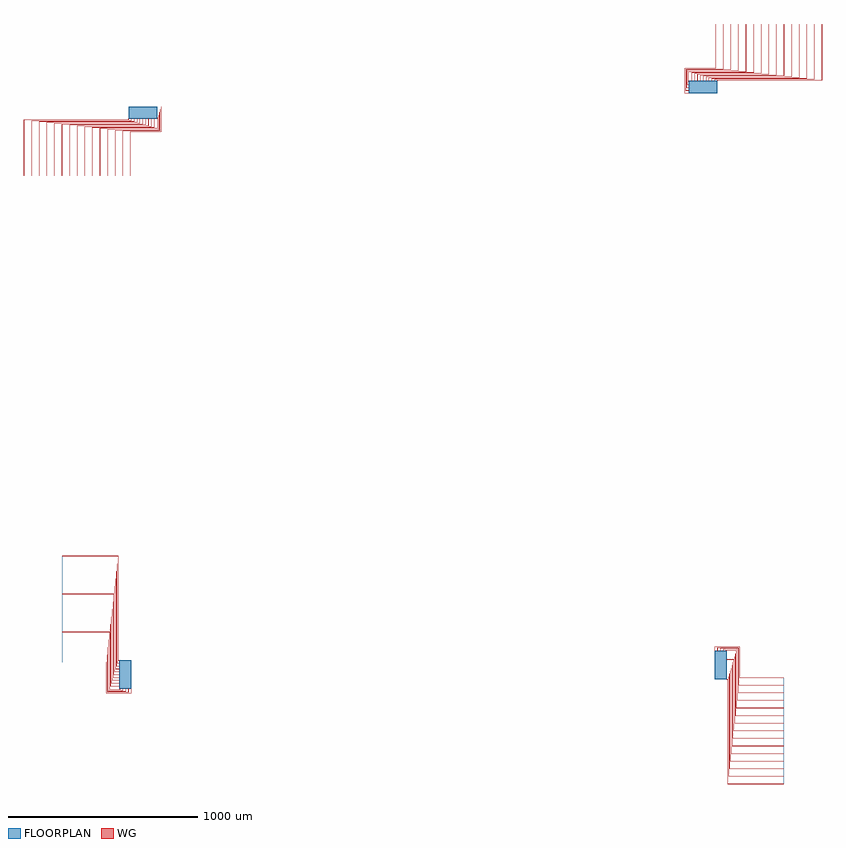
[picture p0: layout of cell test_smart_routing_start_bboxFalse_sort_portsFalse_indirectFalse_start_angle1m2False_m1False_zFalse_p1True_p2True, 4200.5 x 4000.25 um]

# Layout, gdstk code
import gdstk
lib = gdstk.Library(unit=1e-6, precision=1e-09)
def R(c, l, rs):  # rectangles x0, y0, x1, y1
    for r in rs: c.add(gdstk.rectangle(r[:2], r[2:], *l))
def P(c, l, *ps):  # polygons
    for p in ps: c.add(gdstk.Polygon(p, *l))
WG = (1, 0)
FLOORPLAN = (10, 0)

test_smart_routing_start = lib.new_cell('test_smart_routing_start_bboxFalse_sort_portsFalse_indirectFalse_start_angle1m2False_m1False_zFalse_p1True_p2True')
P(test_smart_routing_start, WG, [(3049.75,3100),(3049.75,3104.5),(3599.75,3104.5),(3599.75,3400),(3599.95,3400),(3599.95,3104.3),(3049.95,3104.3),(3049.95,3100)],
  [(3050.05,3100),(3050.05,3104.2),(3600.05,3104.2),(3600.05,3400),(3600.25,3400),(3600.25,3104),(3050.25,3104),(3050.25,3100)],
  [(3034.75,3100),(3034.75,3109),(3559.75,3109),(3559.75,3400),(3559.95,3400),(3559.95,3108.8),(3034.95,3108.8),(3034.95,3100)],
  [(3035.05,3100),(3035.05,3108.7),(3560.05,3108.7),(3560.05,3400),(3560.25,3400),(3560.25,3108.5),(3035.25,3108.5),(3035.25,3100)],
  [(3019.75,3100),(3019.75,3113.5),(3519.75,3113.5),(3519.75,3400),(3519.95,3400),(3519.95,3113.3),(3019.95,3113.3),(3019.95,3100)],
  [(3020.05,3100),(3020.05,3113.2),(3520.05,3113.2),(3520.05,3400),(3520.25,3400),(3520.25,3113),(3020.25,3113),(3020.25,3100)],
  [(3004.75,3100),(3004.75,3118),(3479.75,3118),(3479.75,3400),(3479.95,3400),(3479.95,3117.8),(3004.95,3117.8),(3004.95,3100)],
  [(3005.05,3100),(3005.05,3117.7),(3480.05,3117.7),(3480.05,3400),(3480.25,3400),(3480.25,3117.5),(3005.25,3117.5),(3005.25,3100)],
  [(2989.75,3100),(2989.75,3122.5),(3439.75,3122.5),(3439.75,3400),(3439.95,3400),(3439.95,3122.3),(2989.95,3122.3),(2989.95,3100)],
  [(2990.05,3100),(2990.05,3122.2),(3440.05,3122.2),(3440.05,3400),(3440.25,3400),(3440.25,3122),(2990.25,3122),(2990.25,3100)],
  [(2974.75,3100),(2974.75,3127),(3399.75,3127),(3399.75,3400),(3399.95,3400),(3399.95,3126.8),(2974.95,3126.8),(2974.95,3100)],
  [(2975.05,3100),(2975.05,3126.7),(3400.05,3126.7),(3400.05,3400),(3400.25,3400),(3400.25,3126.5),(2975.25,3126.5),(2975.25,3100)],
  [(2959.75,3100),(2959.75,3131.5),(3359.75,3131.5),(3359.75,3400),(3359.95,3400),(3359.95,3131.3),(2959.95,3131.3),(2959.95,3100)],
  [(2960.05,3100),(2960.05,3131.2),(3360.05,3131.2),(3360.05,3400),(3360.25,3400),(3360.25,3131),(2960.25,3131),(2960.25,3100)],
  [(2944.75,3100),(2944.75,3136),(3319.75,3136),(3319.75,3400),(3319.95,3400),(3319.95,3135.8),(2944.95,3135.8),(2944.95,3100)],
  [(2945.05,3100),(2945.05,3135.7),(3320.05,3135.7),(3320.05,3400),(3320.25,3400),(3320.25,3135.5),(2945.25,3135.5),(2945.25,3100)],
  [(2929.75,3100),(2929.75,3140.5),(3279.75,3140.5),(3279.75,3400),(3279.95,3400),(3279.95,3140.3),(2929.95,3140.3),(2929.95,3100)],
  [(2930.05,3100),(2930.05,3140.2),(3280.05,3140.2),(3280.05,3400),(3280.25,3400),(3280.25,3140),(2930.25,3140),(2930.25,3100)],
  [(2914.75,3100),(2914.75,3145),(3239.75,3145),(3239.75,3400),(3239.95,3400),(3239.95,3144.8),(2914.95,3144.8),(2914.95,3100)],
  [(2915.05,3100),(2915.05,3144.7),(3240.05,3144.7),(3240.05,3400),(3240.25,3400),(3240.25,3144.5),(2915.25,3144.5),(2915.25,3100)],
  [(2877.5,3034.75),(2877.5,3167.5),(3039.75,3167.5),(3039.75,3400),(3039.95,3400),(3039.95,3167.3),(2877.7,3167.3),(2877.7,3034.95),(2900,3034.95),(2900,3034.75)],
  [(2877.8,3035.05),(2877.8,3167.2),(3040.05,3167.2),(3040.05,3400),(3040.25,3400),(3040.25,3167),(2878,3167),(2878,3035.25),(2900,3035.25),(2900,3035.05)],
  [(2882,3049.75),(2882,3163),(3079.75,3163),(3079.75,3400),(3079.95,3400),(3079.95,3162.8),(2882.2,3162.8),(2882.2,3049.95),(2900,3049.95),(2900,3049.75)],
  [(2882.3,3050.05),(2882.3,3162.7),(3080.05,3162.7),(3080.05,3400),(3080.25,3400),(3080.25,3162.5),(2882.5,3162.5),(2882.5,3050.25),(2900,3050.25),(2900,3050.05)],
  [(2886.5,3064.75),(2886.5,3158.5),(3119.75,3158.5),(3119.75,3400),(3119.95,3400),(3119.95,3158.3),(2886.7,3158.3),(2886.7,3064.95),(2900,3064.95),(2900,3064.75)],
  [(2886.8,3065.05),(2886.8,3158.2),(3120.05,3158.2),(3120.05,3400),(3120.25,3400),(3120.25,3158),(2887,3158),(2887,3065.25),(2900,3065.25),(2900,3065.05)],
  [(2891,3079.75),(2891,3154),(3159.75,3154),(3159.75,3400),(3159.95,3400),(3159.95,3153.8),(2891.2,3153.8),(2891.2,3079.95),(2900,3079.95),(2900,3079.75)],
  [(2891.3,3080.05),(2891.3,3153.7),(3160.05,3153.7),(3160.05,3400),(3160.25,3400),(3160.25,3153.5),(2891.5,3153.5),(2891.5,3080.25),(2900,3080.25),(2900,3080.05)],
  [(2895.5,3094.75),(2895.5,3149.5),(3199.75,3149.5),(3199.75,3400),(3199.95,3400),(3199.95,3149.3),(2895.7,3149.3),(2895.7,3094.95),(2900,3094.95),(2900,3094.75)],
  [(2895.8,3095.05),(2895.8,3149.2),(3200.05,3149.2),(3200.05,3400),(3200.25,3400),(3200.25,3149),(2896,3149),(2896,3095.25),(2900,3095.25),(2900,3095.05)],
  [(-600.25,2600),(-600.25,2896),(-50.25,2896),(-50.25,2900),(-50.05,2900),(-50.05,2895.8),(-600.05,2895.8),(-600.05,2600)],
  [(-599.95,2600),(-599.95,2895.7),(-49.95,2895.7),(-49.95,2900),(-49.75,2900),(-49.75,2895.5),(-599.75,2895.5),(-599.75,2600)],
  [(-560.25,2600),(-560.25,2891.5),(-35.25,2891.5),(-35.25,2900),(-35.05,2900),(-35.05,2891.3),(-560.05,2891.3),(-560.05,2600)],
  [(-559.95,2600),(-559.95,2891.2),(-34.95,2891.2),(-34.95,2900),(-34.75,2900),(-34.75,2891),(-559.75,2891),(-559.75,2600)],
  [(-520.25,2600),(-520.25,2887),(-20.25,2887),(-20.25,2900),(-20.05,2900),(-20.05,2886.8),(-520.05,2886.8),(-520.05,2600)],
  [(-519.95,2600),(-519.95,2886.7),(-19.95,2886.7),(-19.95,2900),(-19.75,2900),(-19.75,2886.5),(-519.75,2886.5),(-519.75,2600)],
  [(-480.25,2600),(-480.25,2882.5),(-5.25,2882.5),(-5.25,2900),(-5.05,2900),(-5.05,2882.3),(-480.05,2882.3),(-480.05,2600)],
  [(-479.95,2600),(-479.95,2882.2),(-4.95,2882.2),(-4.95,2900),(-4.75,2900),(-4.75,2882),(-479.75,2882),(-479.75,2600)],
  [(-440.25,2600),(-440.25,2878),(9.75,2878),(9.75,2900),(9.95,2900),(9.95,2877.8),(-440.05,2877.8),(-440.05,2600)],
  [(-439.95,2600),(-439.95,2877.7),(10.05,2877.7),(10.05,2900),(10.25,2900),(10.25,2877.5),(-439.75,2877.5),(-439.75,2600)],
  [(-400.25,2600),(-400.25,2873.5),(24.75,2873.5),(24.75,2900),(24.95,2900),(24.95,2873.3),(-400.05,2873.3),(-400.05,2600)],
  [(-399.95,2600),(-399.95,2873.2),(25.05,2873.2),(25.05,2900),(25.25,2900),(25.25,2873),(-399.75,2873),(-399.75,2600)],
  [(-360.25,2600),(-360.25,2869),(39.75,2869),(39.75,2900),(39.95,2900),(39.95,2868.8),(-360.05,2868.8),(-360.05,2600)],
  [(-359.95,2600),(-359.95,2868.7),(40.05,2868.7),(40.05,2900),(40.25,2900),(40.25,2868.5),(-359.75,2868.5),(-359.75,2600)],
  [(-320.25,2600),(-320.25,2864.5),(54.75,2864.5),(54.75,2900),(54.95,2900),(54.95,2864.3),(-320.05,2864.3),(-320.05,2600)],
  [(-319.95,2600),(-319.95,2864.2),(55.05,2864.2),(55.05,2900),(55.25,2900),(55.25,2864),(-319.75,2864),(-319.75,2600)],
  [(-280.25,2600),(-280.25,2860),(69.75,2860),(69.75,2900),(69.95,2900),(69.95,2859.8),(-280.05,2859.8),(-280.05,2600)],
  [(-279.95,2600),(-279.95,2859.7),(70.05,2859.7),(70.05,2900),(70.25,2900),(70.25,2859.5),(-279.75,2859.5),(-279.75,2600)],
  [(-240.25,2600),(-240.25,2855.5),(84.75,2855.5),(84.75,2900),(84.95,2900),(84.95,2855.3),(-240.05,2855.3),(-240.05,2600)],
  [(-239.95,2600),(-239.95,2855.2),(85.05,2855.2),(85.05,2900),(85.25,2900),(85.25,2855),(-239.75,2855),(-239.75,2600)],
  [(-40.25,2600),(-40.25,2833),(122,2833),(122,2964.75),(100,2964.75),(100,2964.95),(122.2,2964.95),(122.2,2832.8),(-40.05,2832.8),(-40.05,2600)],
  [(-39.95,2600),(-39.95,2832.7),(122.3,2832.7),(122.3,2965.05),(100,2965.05),(100,2965.25),(122.5,2965.25),(122.5,2832.5),(-39.75,2832.5),(-39.75,2600)],
  [(-80.25,2600),(-80.25,2837.5),(117.5,2837.5),(117.5,2949.75),(100,2949.75),(100,2949.95),(117.7,2949.95),(117.7,2837.3),(-80.05,2837.3),(-80.05,2600)],
  [(-79.95,2600),(-79.95,2837.2),(117.8,2837.2),(117.8,2950.05),(100,2950.05),(100,2950.25),(118,2950.25),(118,2837),(-79.75,2837),(-79.75,2600)],
  [(-120.25,2600),(-120.25,2842),(113,2842),(113,2934.75),(100,2934.75),(100,2934.95),(113.2,2934.95),(113.2,2841.8),(-120.05,2841.8),(-120.05,2600)],
  [(-119.95,2600),(-119.95,2841.7),(113.3,2841.7),(113.3,2935.05),(100,2935.05),(100,2935.25),(113.5,2935.25),(113.5,2841.5),(-119.75,2841.5),(-119.75,2600)],
  [(-160.25,2600),(-160.25,2846.5),(108.5,2846.5),(108.5,2919.75),(100,2919.75),(100,2919.95),(108.7,2919.95),(108.7,2846.3),(-160.05,2846.3),(-160.05,2600)],
  [(-159.95,2600),(-159.95,2846.2),(108.8,2846.2),(108.8,2920.05),(100,2920.05),(100,2920.25),(109,2920.25),(109,2846),(-159.75,2846),(-159.75,2600)],
  [(-200.25,2600),(-200.25,2851),(104,2851),(104,2904.75),(100,2904.75),(100,2904.95),(104.2,2904.95),(104.2,2850.8),(-200.05,2850.8),(-200.05,2600)],
  [(-199.95,2600),(-199.95,2850.7),(104.3,2850.7),(104.3,2905.05),(100,2905.05),(100,2905.25),(104.5,2905.25),(104.5,2850.5),(-199.75,2850.5),(-199.75,2600)],
  [(-104.5,49.75),(-104.5,599.75),(-400,599.75),(-400,599.95),(-104.3,599.95),(-104.3,49.95),(-100,49.95),(-100,49.75)],
  [(-104.2,50.05),(-104.2,600.05),(-400,600.05),(-400,600.25),(-104,600.25),(-104,50.25),(-100,50.25),(-100,50.05)],
  [(-109,34.75),(-109,559.75),(-400,559.75),(-400,559.95),(-108.8,559.95),(-108.8,34.95),(-100,34.95),(-100,34.75)],
  [(-108.7,35.05),(-108.7,560.05),(-400,560.05),(-400,560.25),(-108.5,560.25),(-108.5,35.25),(-100,35.25),(-100,35.05)],
  [(-113.5,19.75),(-113.5,519.75),(-400,519.75),(-400,519.95),(-113.3,519.95),(-113.3,19.95),(-100,19.95),(-100,19.75)],
  [(-113.2,20.05),(-113.2,520.05),(-400,520.05),(-400,520.25),(-113,520.25),(-113,20.25),(-100,20.25),(-100,20.05)],
  [(-118,4.75),(-118,479.75),(-400,479.75),(-400,479.95),(-117.8,479.95),(-117.8,4.95),(-100,4.95),(-100,4.75)],
  [(-117.7,5.05),(-117.7,480.05),(-400,480.05),(-400,480.25),(-117.5,480.25),(-117.5,5.25),(-100,5.25),(-100,5.05)],
  [(-122.5,-10.25),(-122.5,439.75),(-400,439.75),(-400,439.95),(-122.3,439.95),(-122.3,-10.05),(-100,-10.05),(-100,-10.25)],
  [(-122.2,-9.95),(-122.2,440.05),(-400,440.05),(-400,440.25),(-122,440.25),(-122,-9.75),(-100,-9.75),(-100,-9.95)],
  [(-127,-25.25),(-127,399.75),(-400,399.75),(-400,399.95),(-126.8,399.95),(-126.8,-25.05),(-100,-25.05),(-100,-25.25)],
  [(-126.7,-24.95),(-126.7,400.05),(-400,400.05),(-400,400.25),(-126.5,400.25),(-126.5,-24.75),(-100,-24.75),(-100,-24.95)],
  [(-131.5,-40.25),(-131.5,359.75),(-400,359.75),(-400,359.95),(-131.3,359.95),(-131.3,-40.05),(-100,-40.05),(-100,-40.25)],
  [(-131.2,-39.95),(-131.2,360.05),(-400,360.05),(-400,360.25),(-131,360.25),(-131,-39.75),(-100,-39.75),(-100,-39.95)],
  [(-136,-55.25),(-136,319.75),(-400,319.75),(-400,319.95),(-135.8,319.95),(-135.8,-55.05),(-100,-55.05),(-100,-55.25)],
  [(-135.7,-54.95),(-135.7,320.05),(-400,320.05),(-400,320.25),(-135.5,320.25),(-135.5,-54.75),(-100,-54.75),(-100,-54.95)],
  [(-140.5,-70.25),(-140.5,279.75),(-400,279.75),(-400,279.95),(-140.3,279.95),(-140.3,-70.05),(-100,-70.05),(-100,-70.25)],
  [(-140.2,-69.95),(-140.2,280.05),(-400,280.05),(-400,280.25),(-140,280.25),(-140,-69.75),(-100,-69.75),(-100,-69.95)],
  [(-145,-85.25),(-145,239.75),(-400,239.75),(-400,239.95),(-144.8,239.95),(-144.8,-85.05),(-100,-85.05),(-100,-85.25)],
  [(-144.7,-84.95),(-144.7,240.05),(-400,240.05),(-400,240.25),(-144.5,240.25),(-144.5,-84.75),(-100,-84.75),(-100,-84.95)],
  [(-167.5,-122.5),(-167.5,39.75),(-400,39.75),(-400,39.95),(-167.3,39.95),(-167.3,-122.3),(-34.95,-122.3),(-34.95,-100),(-34.75,-100),(-34.75,-122.5)],
  [(-167.2,-122.2),(-167.2,40.05),(-400,40.05),(-400,40.25),(-167,40.25),(-167,-122),(-35.25,-122),(-35.25,-100),(-35.05,-100),(-35.05,-122.2)],
  [(-163,-118),(-163,79.75),(-400,79.75),(-400,79.95),(-162.8,79.95),(-162.8,-117.8),(-49.95,-117.8),(-49.95,-100),(-49.75,-100),(-49.75,-118)],
  [(-162.7,-117.7),(-162.7,80.05),(-400,80.05),(-400,80.25),(-162.5,80.25),(-162.5,-117.5),(-50.25,-117.5),(-50.25,-100),(-50.05,-100),(-50.05,-117.7)],
  [(-158.5,-113.5),(-158.5,119.75),(-400,119.75),(-400,119.95),(-158.3,119.95),(-158.3,-113.3),(-64.95,-113.3),(-64.95,-100),(-64.75,-100),(-64.75,-113.5)],
  [(-158.2,-113.2),(-158.2,120.05),(-400,120.05),(-400,120.25),(-158,120.25),(-158,-113),(-65.25,-113),(-65.25,-100),(-65.05,-100),(-65.05,-113.2)],
  [(-154,-109),(-154,159.75),(-400,159.75),(-400,159.95),(-153.8,159.95),(-153.8,-108.8),(-79.95,-108.8),(-79.95,-100),(-79.75,-100),(-79.75,-109)],
  [(-153.7,-108.7),(-153.7,160.05),(-400,160.05),(-400,160.25),(-153.5,160.25),(-153.5,-108.5),(-80.25,-108.5),(-80.25,-100),(-80.05,-100),(-80.05,-108.7)],
  [(-149.5,-104.5),(-149.5,199.75),(-400,199.75),(-400,199.95),(-149.3,199.95),(-149.3,-104.3),(-94.95,-104.3),(-94.95,-100),(-94.75,-100),(-94.75,-104.5)],
  [(-149.2,-104.2),(-149.2,200.05),(-400,200.05),(-400,200.25),(-149,200.25),(-149,-104),(-95.25,-104),(-95.25,-100),(-95.05,-100),(-95.05,-104.2)],
  [(3104,-600.25),(3104,-50.25),(3100,-50.25),(3100,-50.05),(3104.2,-50.05),(3104.2,-600.05),(3400,-600.05),(3400,-600.25)],
  [(3104.3,-599.95),(3104.3,-49.95),(3100,-49.95),(3100,-49.75),(3104.5,-49.75),(3104.5,-599.75),(3400,-599.75),(3400,-599.95)],
  [(3108.5,-560.25),(3108.5,-35.25),(3100,-35.25),(3100,-35.05),(3108.7,-35.05),(3108.7,-560.05),(3400,-560.05),(3400,-560.25)],
  [(3108.8,-559.95),(3108.8,-34.95),(3100,-34.95),(3100,-34.75),(3109,-34.75),(3109,-559.75),(3400,-559.75),(3400,-559.95)],
  [(3113,-520.25),(3113,-20.25),(3100,-20.25),(3100,-20.05),(3113.2,-20.05),(3113.2,-520.05),(3400,-520.05),(3400,-520.25)],
  [(3113.3,-519.95),(3113.3,-19.95),(3100,-19.95),(3100,-19.75),(3113.5,-19.75),(3113.5,-519.75),(3400,-519.75),(3400,-519.95)],
  [(3117.5,-480.25),(3117.5,-5.25),(3100,-5.25),(3100,-5.05),(3117.7,-5.05),(3117.7,-480.05),(3400,-480.05),(3400,-480.25)],
  [(3117.8,-479.95),(3117.8,-4.95),(3100,-4.95),(3100,-4.75),(3118,-4.75),(3118,-479.75),(3400,-479.75),(3400,-479.95)],
  [(3122,-440.25),(3122,9.75),(3100,9.75),(3100,9.95),(3122.2,9.95),(3122.2,-440.05),(3400,-440.05),(3400,-440.25)],
  [(3122.3,-439.95),(3122.3,10.05),(3100,10.05),(3100,10.25),(3122.5,10.25),(3122.5,-439.75),(3400,-439.75),(3400,-439.95)],
  [(3126.5,-400.25),(3126.5,24.75),(3100,24.75),(3100,24.95),(3126.7,24.95),(3126.7,-400.05),(3400,-400.05),(3400,-400.25)],
  [(3126.8,-399.95),(3126.8,25.05),(3100,25.05),(3100,25.25),(3127,25.25),(3127,-399.75),(3400,-399.75),(3400,-399.95)],
  [(3131,-360.25),(3131,39.75),(3100,39.75),(3100,39.95),(3131.2,39.95),(3131.2,-360.05),(3400,-360.05),(3400,-360.25)],
  [(3131.3,-359.95),(3131.3,40.05),(3100,40.05),(3100,40.25),(3131.5,40.25),(3131.5,-359.75),(3400,-359.75),(3400,-359.95)],
  [(3135.5,-320.25),(3135.5,54.75),(3100,54.75),(3100,54.95),(3135.7,54.95),(3135.7,-320.05),(3400,-320.05),(3400,-320.25)],
  [(3135.8,-319.95),(3135.8,55.05),(3100,55.05),(3100,55.25),(3136,55.25),(3136,-319.75),(3400,-319.75),(3400,-319.95)],
  [(3140,-280.25),(3140,69.75),(3100,69.75),(3100,69.95),(3140.2,69.95),(3140.2,-280.05),(3400,-280.05),(3400,-280.25)],
  [(3140.3,-279.95),(3140.3,70.05),(3100,70.05),(3100,70.25),(3140.5,70.25),(3140.5,-279.75),(3400,-279.75),(3400,-279.95)],
  [(3144.5,-240.25),(3144.5,84.75),(3100,84.75),(3100,84.95),(3144.7,84.95),(3144.7,-240.05),(3400,-240.05),(3400,-240.25)],
  [(3144.8,-239.95),(3144.8,85.05),(3100,85.05),(3100,85.25),(3145,85.25),(3145,-239.75),(3400,-239.75),(3400,-239.95)],
  [(3167,-40.25),(3167,122),(3035.25,122),(3035.25,100),(3035.05,100),(3035.05,122.2),(3167.2,122.2),(3167.2,-40.05),(3400,-40.05),(3400,-40.25)],
  [(3167.3,-39.95),(3167.3,122.3),(3034.95,122.3),(3034.95,100),(3034.75,100),(3034.75,122.5),(3167.5,122.5),(3167.5,-39.75),(3400,-39.75),(3400,-39.95)],
  [(3162.5,-80.25),(3162.5,117.5),(3050.25,117.5),(3050.25,100),(3050.05,100),(3050.05,117.7),(3162.7,117.7),(3162.7,-80.05),(3400,-80.05),(3400,-80.25)],
  [(3162.8,-79.95),(3162.8,117.8),(3049.95,117.8),(3049.95,100),(3049.75,100),(3049.75,118),(3163,118),(3163,-79.75),(3400,-79.75),(3400,-79.95)],
  [(3158,-120.25),(3158,113),(3065.25,113),(3065.25,100),(3065.05,100),(3065.05,113.2),(3158.2,113.2),(3158.2,-120.05),(3400,-120.05),(3400,-120.25)],
  [(3158.3,-119.95),(3158.3,113.3),(3064.95,113.3),(3064.95,100),(3064.75,100),(3064.75,113.5),(3158.5,113.5),(3158.5,-119.75),(3400,-119.75),(3400,-119.95)],
  [(3153.5,-160.25),(3153.5,108.5),(3080.25,108.5),(3080.25,100),(3080.05,100),(3080.05,108.7),(3153.7,108.7),(3153.7,-160.05),(3400,-160.05),(3400,-160.25)],
  [(3153.8,-159.95),(3153.8,108.8),(3079.95,108.8),(3079.95,100),(3079.75,100),(3079.75,109),(3154,109),(3154,-159.75),(3400,-159.75),(3400,-159.95)],
  [(3149,-200.25),(3149,104),(3095.25,104),(3095.25,100),(3095.05,100),(3095.05,104.2),(3149.2,104.2),(3149.2,-200.05),(3400,-200.05),(3400,-200.25)],
  [(3149.3,-199.95),(3149.3,104.3),(3094.95,104.3),(3094.95,100),(3094.75,100),(3094.75,104.5),(3149.5,104.5),(3149.5,-199.75),(3400,-199.75),(3400,-199.95)])
R(test_smart_routing_start, FLOORPLAN, [(-100,-100,-35,50), (3035,-50,3100,100), (-50,2900,100,2965), (2900,3035,3050,3100)])
P(test_smart_routing_start, FLOORPLAN, [(-400,40),(-400,600),(-400,600),(-400,40)],
  [(-600,2600),(-600,2600),(-40,2600),(-40,2600)],
  [(3400,-600),(3400,-40),(3400,-40),(3400,-600)],
  [(3040,3400),(3040,3400),(3600,3400),(3600,3400)])

lib.write_gds('test_smart_routing_start_bboxFalse_sort_portsFalse_indirectFalse_start_angle1m2False_m1False_zFalse_p1True_p2True.gds')
